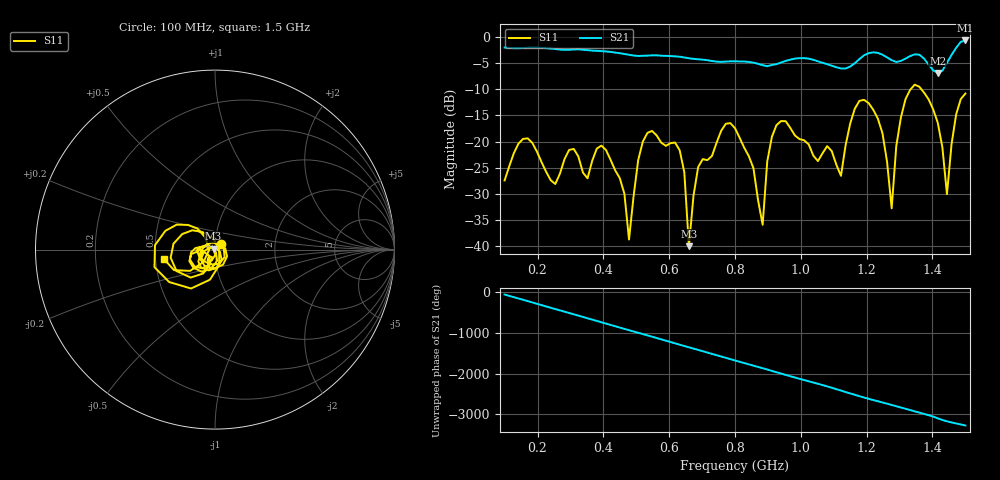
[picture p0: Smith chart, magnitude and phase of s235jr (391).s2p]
! NanoVNA-App
! Date: 2025-09-25 15:07:12
! Start: 100MHz Stop: 1,5GHz Points: 101
! S-Parameter data: F S11 S21 S12 S22
# Hz S RI R 50
!  Frequency  S11_Real  S11_Imag  S21_Real  S21_Imag  S12_Real  S12_Imag  S22_Real  S22_Imag
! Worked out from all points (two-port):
!   101 points, 100 MHz to 1.5 GHz, reference 50 ohm
!   highest |S21| = -0.61 dB at 1.5 GHz (marker M1); lowest = -6.9 dB at 1.416 GHz (marker M2)
!   |S21| within 3 dB of the highest: start of sweep to 604.6 MHz; 1.189 GHz to 1.255 GHz (66.08 MHz wide, 5.41 % of centre) (the widest 2 of 4)
!   lowest |S11| = -40.1 dB at 660 MHz (marker M3), VSWR 1.02, Z = 49.2 + j0.572 ohm
!   |S11| at or under -10 dB: start of sweep to 1.333 GHz; 1.367 GHz to end of sweep
!   S12 and S22 are empty: the file has one direction only
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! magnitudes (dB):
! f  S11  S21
! 100 MHz  -27.5  -2.0
! 170 MHz  -19.4  -2.0
! 338 MHz  -26.0  -2.4
! 408 MHz  -21.6  -2.7
! 478 MHz  -38.8  -3.4
! 520 MHz  -20.0  -3.5
! 576 MHz  -20.2  -3.5
! 632 MHz  -21.7  -3.7
! 660 MHz  -40.1  -4.0
! 688 MHz  -24.9  -4.2
! 800 MHz  -17.4  -4.6
! 884 MHz  -36.0  -5.4
! 926 MHz  -16.9  -5.2
! 1.038 GHz  -22.7  -4.3
! 1.122 GHz  -26.6  -6.0
! 1.192 GHz  -12.0  -3.5
! 1.248 GHz  -18.4  -3.3
! 1.276 GHz  -32.8  -4.4
! 1.332 GHz  -10.1  -3.6
! 1.416 GHz  -16.4  -6.9
! 1.444 GHz  -30.1  -4.9
! 1.5 GHz  -10.8  -0.6
